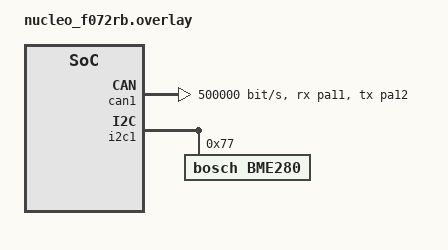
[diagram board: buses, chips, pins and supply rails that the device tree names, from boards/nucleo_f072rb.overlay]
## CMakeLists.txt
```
# SPDX-License-Identifier: Apache-2.0
#
# The F072RB peer node: a BME280 read over I2C, published as Protobuf over CAN.
# The H753ZI gateway relays those bytes to MQTT without decoding them.
#
# Two of the four translation units come from shared/, compiled here by relative
# path rather than copied. That is the same rule tests/ already follows: one
# definition, no drift. It matters most for protocol.cpp, which *is* the mapping
# between the schema and the internal reading struct -- two copies of an encoder
# is two schemas that agree only by luck.

cmake_minimum_required(VERSION 3.20.0)
find_package(Zephyr REQUIRED HINTS $ENV{ZEPHYR_BASE})
project(sensor_node)

set(SHARED ${CMAKE_CURRENT_SOURCE_DIR}/../shared)

# The same generator line the gateway and tests/ use, so all three build against
# proto/ rather than a snapshot of it.
list(APPEND CMAKE_MODULE_PATH ${ZEPHYR_BASE}/modules/nanopb)
include(nanopb)
zephyr_nanopb_sources(app ${CMAKE_CURRENT_SOURCE_DIR}/../proto/node.proto)

target_sources(app PRIVATE
  src/main.cpp          # the CAN session: heartbeat, ISO-TP send/receive
  src/sensor.cpp        # BME280 thread: acquisition, sample period, bounds
  ${SHARED}/protocol.cpp  # shared: the wire format
  ${SHARED}/commands.cpp  # shared: command semantics, dispatch, dedupe
)

# app_channels.h, can_link.h, commands.h and protocol.h come from shared/. Note
# what this does NOT include: main.cpp and sensor.cpp are this node's own,
# because the session and the sensor are exactly what differs.
target_include_directories(app PRIVATE ${SHARED})
```

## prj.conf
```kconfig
# The F072RB peer node. 16 KB of RAM and 128 KB of flash, so every option here
# is one someone had to justify -- unlike the gateway, where the H7's 512 KB
# made the question uninteresting. Where a value differs from gateway/prj.conf,
# the comment says why.

# C++17, same as the gateway. See notes/language-cpp.md.
CONFIG_CPP=y
CONFIG_STD_CPP17=y

# --- Sensor -----------------------------------------------------------------
# BME280 on I2C1. CONFIG_BME280 is default-y once the devicetree node exists,
# so the driver needs no explicit enable -- the same devicetree->Kconfig bridge
# the SCD-40 uses on the gateway (docs/build-system-overview.md).
CONFIG_SENSOR=y
CONFIG_I2C=y

# --- CAN --------------------------------------------------------------------
# bxCAN, classic CAN 2.0B. No CONFIG_CAN_FD_MODE: this part cannot do CAN-FD at
# all, which is what fixes the link at 8 payload bytes and makes the next
# option necessary rather than a convenience.
CONFIG_CAN=y

# ISO-TP (ISO 15765-2): segmentation and reassembly on top of 8-byte frames,
# with flow control. A Telemetry is up to 43 bytes with its type prefix, so it
# does not fit a single frame and there is no way around this. notes/can-guide.md §8.
CONFIG_ISOTP=y

# Trim the ISO-TP receive pools. The defaults are 4 of each, sized for a node
# handling several concurrent transfers; this one only ever receives a Command,
# and 4x56 B twice over is real money on 16 KB.
CONFIG_ISOTP_RX_BUF_COUNT=2
CONFIG_ISOTP_RX_SF_FF_BUF_COUNT=2

# There is deliberately no CONFIG_ISOTP_TX_BUF_COUNT here: it depends on
# ISOTP_USE_TX_BUF, and setting it without that produces a Kconfig warning and
# no effect. We do not want the TX buffers at all. main.cpp calls isotp_send()
# with a null completion callback, which blocks until the whole segmented
# transfer has finished, so the caller's own buffer stays valid for the
# duration and there is nothing for the library to copy into. That is also what
# makes the single-writer rule enforceable without a mutex -- see src/main.cpp.
# CONFIG_ISOTP_USE_TX_BUF is not set
# CONFIG_ISOTP_ENABLE_CONTEXT_BUFFERS is not set

# --- Protobuf ---------------------------------------------------------------
# Same generated code as the gateway, from the same proto/node.proto.
CONFIG_NANOPB=y

# --- zbus -------------------------------------------------------------------
# Same split as the gateway: the sensor thread publishes readings and never
# mentions CAN. See shared/app_channels.h.
CONFIG_ZBUS=y
CONFIG_ZBUS_MSG_SUBSCRIBER=y
CONFIG_ZBUS_PREFER_DYNAMIC_ALLOCATION=n
# The largest message on ANY channel this node publishes -- struct
# sensor_reading, 44 B. Not the largest on a message-subscriber channel: with
# CONFIG_ZBUS_MSG_SUBSCRIBER=y every zbus_chan_pub() copies the whole message
# into a buffer from this pool regardless of the channel's observer kinds, so
# the listener-only telemetry channel still needs a slot big enough to hold a
# reading. The gateway's prj.conf has the mechanism; shared/app_channels.h has
# the static_assert that enforces it.
CONFIG_ZBUS_MSG_SUBSCRIBER_NET_BUF_STATIC_DATA_SIZE=44
CONFIG_ZBUS_MSG_SUBSCRIBER_NET_BUF_POOL_SIZE=2

# Channel and observer names cost ROM per object and only ever appear in zbus's
# own log lines. The gateway keeps them; this node does not.
# CONFIG_ZBUS_CHANNEL_NAME is not set
# CONFIG_ZBUS_OBSERVER_NAME is not set

# --- Console and logging ----------------------------------------------------
# usart2 on the ST-LINK VCP at 115200, from the board dts. Deliberately NO
# shell: CONFIG_SHELL, CONFIG_SENSOR_SHELL and CONFIG_CAN_SHELL are all off.
# can_shell.c alone was 4356 B of the gateway's flash, and a shell wants a
# thread and a stack this part would rather spend elsewhere. Debug this node
# from the gateway's console and the bus, which is also how it will have to be
# debugged once it is not on a desk.
CONFIG_STDOUT_CONSOLE=y
CONFIG_LOG=y
# Deferred logging, and NOT CONFIG_LOG_MODE_MINIMAL, which is what this file
# tried first. Minimal mode routes every message straight to vprintk() in the
# caller's context (subsys/logging/log_minimal.c:19) with nothing owning the
# output, so two threads logging at once interleave *within a line*. Observed on
# this board, at the worst possible moment -- boot, when both threads have
# something to say:
#
#   I: BME280 W: gateway unreachable (heartbeat failed: -5) — backing off
#   online
#
# That is two correct messages and one unreadable console. CONFIG_PRINTK_SYNC=y
# would fix it with a spinlock, but a spinlock on a single-core part is an
# irq_lock held for the whole line, and a 60-character line over a polling UART
# at 115200 is about 5 ms of interrupts disabled -- twenty CAN frame times, on a
# controller with a three-deep RX FIFO.
#
# So: a log thread and a ring buffer instead. It costs +1640 B RAM and +8748 B
# flash, taking this app to 65 % and 51 % of the part, and it buys ordered
# output, timestamps and module names. Worth it here specifically because this
# node has NO SHELL: the console is its only diagnostic channel, so making that
# channel trustworthy is not a luxury. Both numbers below are trimmed from their
# 1024 B defaults; raise them if messages start being dropped.
CONFIG_LOG_MODE_DEFERRED=y
CONFIG_LOG_BUFFER_SIZE=512
CONFIG_LOG_PROCESS_THREAD_STACK_SIZE=768

CONFIG_MAIN_STACK_SIZE=1536

# Deliberately absent: CONFIG_SYSTEM_WORKQUEUE_STACK_SIZE, left at its 1024 B
# default. Worth knowing where it matters, though -- isotp.c drives every
# segmented transfer from k_work_submit(), which is the *shared* system
# workqueue, so the frame-by-frame half of an ISO-TP send runs on that stack
# rather than on main's. If the link ever misbehaves in ways that look like
# memory corruption, this is the first number to raise, and
# CONFIG_THREAD_ANALYZER is how to find out rather than guess.
```

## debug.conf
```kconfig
# An interactive shell on the peer node, for bench work only.
#
# Not part of prj.conf, because this is a build *variant* rather than a change
# of mind. Pass it explicitly:
#
#   ./scripts/build.sh -a peer-node --debug -p
#
# which expands to -DEXTRA_CONF_FILE=debug.conf. Kconfig merges the fragments in
# order, so everything below is layered on top of prj.conf rather than replacing
# it -- see notes/zephyr-build-system-guide.md for how that merge works.
#
# ---------------------------------------------------------------------------
# Why this is not simply on
# ---------------------------------------------------------------------------
#
# Measured on this app, all four pristine builds, RAM out of 16 KB:
#
#   no shell (prj.conf alone)          10 696 B   65 %     67 384 B flash
#   shell core, stock settings         15 632 B   95 %     97 008 B
#   + can shell, stock settings        16 092 B   98 %    106 268 B
#   + sensor shell, stock settings     OVERFLOW by 5856 B
#   this file (trimmed, + can shell)   13 532 B   83 %     98 680 B
#
# A stock Zephyr shell essentially consumes the part: 95 % of RAM before a
# single command set is added. The trimming below is what makes it usable, and
# every line of it costs a convenience you would otherwise have.
#
# CONFIG_SENSOR_SHELL is absent and cannot be added. It selects SENSOR_ASYNC_API,
# which pulls in RTIO and its pools, and the link overflows by 5856 B. Read the
# BME280 through the telemetry stream instead -- which is the honest test
# anyway, since that is the path that has to work.

CONFIG_SHELL=y

# The `can` command set: show, start/stop, mode, bitrate, send, filter add,
# dump. This is the reason to build this variant at all. Having it on BOTH ends
# of the link is what makes a first real-bus bring-up tractable: `can show` on
# each node reports its own error counters and state, so "which end is unhappy"
# stops being a guess. 9272 B of flash and 460 B of RAM.
CONFIG_CAN_SHELL=y

# --- the trimming -----------------------------------------------------------
# Roughly 2.5 KB of RAM, itemised so each cost is visible rather than folded
# into one number.

# 1024 rather than 2048. The deepest thing the shell does here is can_shell.c's
# frame printing; it does no networking and no file I/O.
CONFIG_SHELL_STACK_SIZE=1024

# 96-byte command line rather than 256. The longest command worth typing is
# about `can filter add can@40006400 0x702 0x7ff`, which is 42 characters.
CONFIG_SHELL_CMD_BUFF_SIZE=96

# No history: 512 B of RAM for the up-arrow. The single most missed one, and
# the single largest saving.
CONFIG_SHELL_HISTORY=n

# No tab completion, no VT100 line editing, no colours, no metakeys, no
# statistics. Each keeps its own buffers or tables. What remains is a plain
# line-at-a-time terminal -- type it correctly, press enter.
CONFIG_SHELL_TAB=n
CONFIG_SHELL_TAB_AUTOCOMPLETION=n
CONFIG_SHELL_VT100_COMMANDS=n
CONFIG_SHELL_VT100_COLORS=n
CONFIG_SHELL_METAKEYS=n
CONFIG_SHELL_STATS=n

# Log lines keep going straight to the UART backend rather than being routed
# through the shell, which would want its own message queue on top of the
# deferred-logging one prj.conf already pays for. The visible effect is that a
# log line can land in the middle of what you are typing. With no history and no
# VT100 there is no redraw to fix that; it is the same trade as the rest.
CONFIG_SHELL_LOG_BACKEND=n

# Small ring buffers. 16 bytes of RX is four characters of typing ahead of the
# shell thread, which a human cannot outrun.
CONFIG_SHELL_BACKEND_SERIAL_RX_RING_BUFFER_SIZE=16
CONFIG_SHELL_BACKEND_SERIAL_TX_RING_BUFFER_SIZE=16
```

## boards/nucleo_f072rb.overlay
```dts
/* Devicetree for the F072RB peer node: one CAN controller, one BME280.
 *
 * Both nodes need adding here, unlike the H753ZI where the board dts already
 * enabled fdcan1 -- `can` is not in nucleo_f072rb.yaml's supported list and
 * can1 arrives from stm32f072.dtsi with status = "disabled". So this file does
 * for CAN what gateway/boards/nucleo_h753zi.overlay does only for the sensor.
 */

/* Classic CAN 2.0B on bxCAN. Not FDCAN: this part has no CAN-FD at all, which
 * is what fixes the whole link at 8 payload bytes per frame and makes ISO-TP
 * segmentation necessary rather than optional. See notes/can-guide.md §8.
 *
 * PA11 (RX) / PA12 (TX), exposed on ST morpho CN10-14 and CN10-12. The
 * can_rx_pb8 / can_tx_pb9 remap exists but collides with i2c1 below, where the
 * BME280 lives -- so the choice of pins here is really a choice about the
 * sensor bus. Note the labels are `can_*`, not `can1_*`, unlike the H7's
 * `fdcan1_*`; the pinctrl name follows the peripheral's name in the SoC dtsi.
 *
 * PA11/PA12 are also USB_DM/USB_DP on this part. That is not a conflict to
 * resolve, it is a conflict that cannot arise: on STM32F0 the USB and CAN
 * peripherals share the same 1 KB packet-buffer SRAM (RM0091), so they are
 * mutually exclusive in hardware. This node uses no USB.
 */
&can1 {
	pinctrl-0 = <&can_rx_pa11 &can_tx_pa12>;
	pinctrl-names = "default";

	/* The same number the H7's overlay states, for the same reason: a
	 * bitrate is a property of the wire both nodes share, not of either
	 * app. Leaving it out would silently select CONFIG_CAN_DEFAULT_BITRATE
	 * (125000) and produce a completely dead bus with every layer above it
	 * apparently configured correctly. See docs/can-bringup.md. */
	bitrate = <500000>;

	status = "okay";
};

/ {
	chosen {
		/* So relay-side code can say DEVICE_DT_GET(DT_CHOSEN(zephyr_canbus))
		 * and compile unchanged against fdcan1 on the H7, can1 here, and a
		 * loopback node in a test. The H753ZI board dts already sets this;
		 * on this board nobody has. */
		zephyr,canbus = &can1;
	};
};

/* Adafruit BME280 on I2C1 (SCL=PB8, SDA=PB9 -- already pinned by the board
 * dts). Upstream in-tree driver, same posture as the SCD-40 on the gateway:
 * the devicetree node is what enables CONFIG_BME280, which is `default y` on
 * DT_HAS_BOSCH_BME280_ENABLED.
 *
 * Address 0x77 is the Adafruit breakout's default (SDO pulled high on the
 * board). Sparkfun and most bare modules use 0x76 instead; if probing finds
 * nothing, that is the first thing to change. The driver reads the chip id
 * either way, so a wrong address fails cleanly at init rather than returning
 * plausible garbage.
 *
 * No zephyr,deferred-init here, deliberately. That flag exists on the SCD-40
 * because it needs 30 ms of power-up before it will answer at all and a failed
 * init latches permanently (see docs/sensor-bringup.md). The BME280 has no
 * such window -- it is readable as soon as its supply is up -- so there is
 * nothing for a delayed init to buy, and the boot sweep can have it.
 */
&i2c1 {
	bme280: bme280@77 {
		compatible = "bosch,bme280";
		reg = <0x77>;
		status = "okay";
	};
};
```

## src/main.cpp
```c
/* The CAN session: this node's whole conversation with the gateway.
 *
 * The counterpart of gateway/src/main.cpp, which owns the MQTT session on the
 * gateway. Reading them side by side is the point of the exercise: the same job
 * over transports that agree on almost nothing, and every mechanism MQTT gives
 * away for free has to be re-earned here. notes/can-guide.md §9 sets the two
 * out row by row.
 *
 * The rows that put code in this file and not in the gateway's are liveness and
 * acknowledgement: a CAN bus cannot tell a silent node from an absent one, so
 * liveness is a heartbeat this node publishes rather than something a broker
 * infers.
 *
 * Everything below runs on main. That is a correctness property before it is
 * thrift: two isotp_send() calls on one address from different contexts
 * interleave their frames and corrupt both transfers, so the single-writer rule
 * is load-bearing. It also fits a part with 16 KB of RAM.
 *
 * The loop's shape follows: wake at least once per kHeartbeatPeriodMs, and spend
 * the time between blocked in isotp_recv(). Telemetry arrives asynchronously on
 * a zbus channel and goes out on whichever wake comes next, so a reading can
 * wait up to one heartbeat period -- acceptable against a 5 s sample cadence.
 */
#include <zephyr/kernel.h>
#include <zephyr/canbus/isotp.h>
#include <zephyr/device.h>
#include <zephyr/drivers/can.h>
#include <zephyr/logging/log.h>
#include <zephyr/sys/atomic.h>
#include <zephyr/zbus/zbus.h>

#include <errno.h>
#include <string.h>

#include "app_channels.h"
#include "can_link.h"
#include "commands.h"
#include "protocol.h"

LOG_MODULE_REGISTER(node, LOG_LEVEL_INF);

/* This app's half of the identity seam commands.h declares. The gateway defines
 * "nucleo-1"; this is node 2, and the two must differ -- GetDeviceInfo is how a
 * host asks which node it is actually talking to, and a relayed answer with the
 * wrong id would be worse than no answer. */
const char *const kNodeClientId = "nucleo-2";

namespace {

constexpr uint8_t kNodeId = kFirstPeerNodeId; /* 2 */

/* One line, and it is the reason this file compiles unchanged against fdcan1 on
 * the H7, can1 here, and a software loopback node in a test: the devicetree
 * says which controller is *the* CAN bus, so no node label appears in the C. */
const struct device *const can_dev = DEVICE_DT_GET(DT_CHOSEN(zephyr_canbus));

/* ---- ISO-TP addressing ---------------------------------------------------- */

/* Mirrored from the gateway's point of view: what it calls "to peer" is what we
 * receive. Getting this pair backwards produces a link on which every frame is
 * transmitted correctly and nothing is ever delivered, which is why the
 * constructors in can_link.h are named for direction rather than for role.
 *
 * Four addresses rather than two, because our bind and our sender each need an
 * identifier no other filter on this node listens to (can_link.h). The pairing
 * to hold on to: an ISO-TP context's two addresses are always "the data I move"
 * and "the flow control that answers it", travelling in opposite directions. */
const struct isotp_msg_id rx_addr = {
	.std_id = isotp_id_to_peer(kNodeId), /* 0x7E0: commands, gateway -> us */
};
const struct isotp_msg_id rx_fc_addr = {
	.std_id = isotp_fc_id_to_peer(kNodeId), /* 0x7EC: FC for our sends, gateway -> us */
};
const struct isotp_msg_id tx_addr = {
	.std_id = isotp_id_to_gateway(kNodeId), /* 0x7E8: telemetry and acks, us -> gateway */
};
const struct isotp_msg_id tx_fc_addr = {
	.std_id = isotp_fc_id_to_gateway(kNodeId), /* 0x7E4: FC for our bind, us -> gateway */
};

/* Flow control we advertise to a sender: bs = 0 is "send the whole thing", stmin
 * = 0 is "no minimum gap". Both are the permissive end, and right here because
 * the only thing that ever sends to this node is a Command -- 20 bytes worst
 * case, three frames. A node receiving a firmware image would answer
 * differently (notes/can-guide.md §8). */
const struct isotp_fc_opts fc_opts = {
	.bs = 0,
	.stmin = 0,
};

struct isotp_recv_ctx recv_ctx;
struct isotp_send_ctx send_ctx;

/* ---- telemetry from the sensor thread ------------------------------------- */

/* Set by the listener below, cleared once the reading has been sent. A plain
 * bool rather than an atomic: the listener runs in the context of whoever
 * published (the sensor thread), and a single-byte flag written by one thread
 * and read by another is exactly the case k_sem exists for -- which is what the
 * semaphore beside it is doing. The flag only says "there is something to
 * read"; the reading itself lives in the channel, where latest-wins keeps it
 * fresh, and is copied out under zbus's own lock by zbus_chan_read(). */
K_SEM_DEFINE(telemetry_pending, 0, 1);

void on_telemetry(const struct zbus_channel *chan)
{
	ARG_UNUSED(chan);

	/* A listener runs inside zbus_chan_pub(), in the publisher's context and
	 * with the channel locked. So it must not block and must not read the
	 * channel -- it signals, and the loop below does the reading. The
	 * gateway's listener signals an eventfd for the same reason; the only
	 * difference is that its reader is in poll() and ours is not. */
	k_sem_give(&telemetry_pending);
}

/* ---- link state ----------------------------------------------------------- */

/* A peer node whose gateway is absent is a **normal operating condition**, not
 * an error state: it happens whenever the gateway reboots, whenever the bus is
 * unplugged, and for as long as this node is powered before its gateway is.
 *
 * Treating it as an error costs twice -- a failure line per heartbeat burying
 * everything else, and a full second inside every isotp_send() waiting for flow
 * control nobody will send. So: back off, stay quiet, keep sampling, the same
 * rule gateway/src/main.cpp applies to a broker that will not accept a
 * connection. The sensor thread never learns about any of it.
 */
constexpr uint32_t kTxBackoffMinMs = 2000;
constexpr uint32_t kTxBackoffMaxMs = 30000;

bool link_up = true; /* optimistic: the first failure is the news, not the first success */
uint32_t tx_backoff_ms = 0;
int64_t tx_retry_at = 0;

/* Note an outcome, and log only when it *changes*. Without this the interesting
 * event — "the gateway went away" — is buried in identical lines repeating at
 * 1 Hz forever, which is the opposite of what a log is for. */
void note_link(bool ok, const char *what, int rc)
{
	if (ok) {
		if (!link_up) {
			LOG_INF("gateway reachable again");
		}
		link_up = true;
		tx_backoff_ms = 0;
		return;
	}

	if (link_up) {
		LOG_WRN("gateway unreachable (%s failed: %d) — backing off, still sampling", what,
			rc);
	}
	link_up = false;

	/* Doubling, capped. Same shape as the MQTT reconnect backoff on the
	 * gateway, and for the same reason: retry often enough to notice the
	 * peer return, rarely enough that failing costs nothing. */
	tx_backoff_ms = (tx_backoff_ms == 0) ? kTxBackoffMinMs
					     : MIN(tx_backoff_ms * 2, kTxBackoffMaxMs);
	tx_retry_at = k_uptime_get() + tx_backoff_ms;
}

/* Is the controller in a state where transmitting can possibly work?
 *
 * Bus-off is the one that matters here, and it is what this node hits with no
 * peer attached: every frame it sends goes unacknowledged, the transmit error
 * counter climbs past 255, and the controller takes itself off the bus
 * (notes/can-guide.md §6). can_send() then returns -ENETUNREACH immediately,
 * which is cheap — but asking first is what lets the heartbeat stay silent
 * about a condition it can neither fix nor influence.
 *
 * Recovery is automatic (CONFIG_CAN_MANUAL_RECOVERY_MODE is off) and does not
 * depend on us trying: the controller returns to error-active after it observes
 * 128 sequences of 11 recessive bits. So skipping a send while bus-off delays
 * nothing. */
bool bus_transmittable(void)
{
	enum can_state state;

	if (can_get_state(can_dev, &state, nullptr) != 0) {
		return true; /* cannot tell — try, and let the send report */
	}
	return state != CAN_STATE_BUS_OFF && state != CAN_STATE_STOPPED;
}

/* ---- sending -------------------------------------------------------------- */

/* Send one already-encoded protobuf message with its type byte in front.
 *
 * The type byte is prepended into a local buffer rather than sent as a separate
 * frame, because ISO-TP delivers a payload whole or not at all and splitting
 * the two would reintroduce exactly the reassembly problem it exists to solve.
 *
 * isotp_send() with a null completion callback BLOCKS until the whole segmented
 * transfer has finished. That is what makes the single-writer rule enforceable
 * without a mutex: this function cannot be re-entered from this thread, and no
 * other thread calls it. It also means the caller's buffer stays valid for the
 * duration, which the API requires. */
int send_message(enum relay_msg_type type, const uint8_t *payload, size_t len)
{
	/* +1 for the type byte. Sized from the largest thing we ever send. */
	uint8_t frame[1 + node_Ack_size];

	if (len + 1 > sizeof(frame)) {
		LOG_ERR("payload %zu B exceeds the ISO-TP buffer", len);
		return -EMSGSIZE;
	}

	frame[0] = static_cast<uint8_t>(type);
	memcpy(&frame[1], payload, len);

	int rc = isotp_send(&send_ctx, can_dev, frame, len + 1, &tx_addr, &rx_fc_addr, nullptr,
			    nullptr);

	/* ISOTP_N_TIMEOUT_BS (-2) is the signature of an absent gateway: the
	 * first frame went out and no flow control came back within a second.
	 * That is not an error to report per attempt — it is a link state, and
	 * note_link() owns saying so once. Anything else is a genuine surprise
	 * and is worth a line of its own. */
	if (rc != ISOTP_N_OK && rc != ISOTP_N_TIMEOUT_BS && rc != ISOTP_N_TIMEOUT_A) {
		LOG_WRN("isotp_send(type=%u, %zu B) failed: %d", type, len + 1, rc);
	}
	return rc;
}

/* Returns the ISO-TP result, not a bool: ISOTP_N_OK, or the code that explains
 * the failure. note_link() prints it, and the distinction it carries is the
 * whole diagnosis -- ISOTP_N_TIMEOUT_BS means the first frame went out and no
 * flow control came back, which is a very different fault from the transmit
 * itself failing, and the two point at different halves of the link. A bool
 * cannot carry that distinction. */
int send_telemetry(const struct sensor_reading &reading)
{
	uint8_t payload[node_Telemetry_size];
	size_t len = encode_telemetry(reading, payload, sizeof(payload));

	if (len == 0) {
		return -EINVAL; /* encode_telemetry already logged why */
	}

	return send_message(RELAY_MSG_TELEMETRY, payload, len);
}

/* ---- the heartbeat -------------------------------------------------------- */

/* What the last reading said, so the heartbeat can report the node's state
 * without re-reading the sensor. Written and read only by main. */
struct heartbeat hb_state = {
	.state = HEARTBEAT_STATE_BOOT,
	.uptime_s = 0,
	.sequence_low = 0,
};

/* Transmission bookkeeping for the heartbeat, written from the CAN TX ISR.
 *
 * The heartbeat MUST be sent with a completion callback. can_send() without one
 * waits K_FOREVER on completion, the k_timeout_t argument bounds only the wait
 * for a free mailbox, and on this controller completion may never come at all --
 * so a blocking heartbeat parks main for the whole outage, taking telemetry and
 * command handling with it, and does so invisibly. docs/can-bringup.md *Driver
 * behaviour worth knowing* has the mechanism.
 *
 * With a callback, can_send() returns as soon as the frame is queued and the
 * link verdict is formed from what has actually COMPLETED rather than from what
 * was accepted for transmission. */
atomic_t beats_in_flight = ATOMIC_INIT(0);
atomic_t last_beat_error = ATOMIC_INIT(0);

void heartbeat_sent(const struct device *dev, int error, void *user_data)
{
	ARG_UNUSED(dev);
	ARG_UNUSED(user_data);

	atomic_set(&last_beat_error, error);
	atomic_dec(&beats_in_flight);
}

void send_heartbeat(void)
{
	struct can_frame frame = {};

	frame.id = heartbeat_id(kNodeId);
	frame.dlc = kHeartbeatLen;

	hb_state.uptime_s = static_cast<uint32_t>(k_uptime_get() / 1000);
	heartbeat_pack(&hb_state, frame.data);

	/* K_NO_WAIT plus a real callback, which together are what make this
	 * genuinely non-blocking -- see the note on beats_in_flight above for
	 * why the callback is the load-bearing half. A heartbeat that had to
	 * queue behind something is already late, and the next one is a second
	 * away; blocking main here would delay the command handling this loop
	 * also owes, for as long as the link stayed down.
	 *
	 * The heartbeat is NOT backed off when the link is down, unlike
	 * telemetry: it is one non-blocking frame, it is what a returning
	 * gateway is waiting to hear, and going quiet would make recovery
	 * depend on the telemetry cadence. Only its logging is suppressed. */
	int rc = can_send(can_dev, &frame, K_NO_WAIT, heartbeat_sent, nullptr);

	if (rc == 0) {
		atomic_inc(&beats_in_flight);
	}

	/* Three things have to hold for the link to count as up:
	 *
	 *   rc == 0            the frame was accepted. -EAGAIN means all three
	 *                      mailboxes are still occupied by earlier beats.
	 *   in flight <= 1     the PREVIOUS beat completed. At 1 Hz, one still
	 *                      outstanding means nothing is acknowledging us --
	 *                      which notices the fault at t+2s rather than t+4s.
	 *   no error           the last completed beat reported success.
	 *
	 * Reading a result that belongs to the previous beat is deliberate: a
	 * transmission that has not finished has no verdict yet. */
	int err = (rc != 0) ? rc : static_cast<int>(atomic_get(&last_beat_error));

	if (err == 0 && atomic_get(&beats_in_flight) > 1) {
		/* A distinct code rather than a bare false, so the console names
		 * which of the three conditions failed. note_link() prints the
		 * number it is given, so handing it a 0 here would report
		 * "failed: 0" and say nothing at all. */
		err = -EBUSY;
	}

	note_link(err == 0, "heartbeat", err);
}

/* ---- receiving ------------------------------------------------------------ */

void handle_incoming(const uint8_t *buf, size_t len)
{
	if (len < 1) {
		LOG_WRN("empty ISO-TP payload");
		return;
	}

	if (buf[0] != RELAY_MSG_COMMAND) {
		/* The gateway only ever sends commands downward. Anything else
		 * is a bug at the far end or a newer peer's traffic on our
		 * address, and either way this node has no handler. */
		LOG_WRN("unexpected message type %u from the gateway", buf[0]);
		return;
	}

	node_Command cmd;

	/* `oversized` is false: ISO-TP already refused anything longer than the
	 * buffer, so a payload that arrives here arrived whole. That is one of
	 * the two things the gateway's MQTT path has to check for itself. */
	if (!decode_command(&buf[1], len - 1, false, &cmd)) {
		uint8_t payload[node_Ack_size];
		/* Sequence 0: the bytes did not decode, so there is no sequence
		 * to echo. The host correlates on it and will see a 0 it never
		 * sent, which is the honest report of "something arrived and it
		 * was not a Command". */
		size_t n = encode_ack(0, node_AckStatus_ACK_STATUS_MALFORMED, "decode failed",
				      nullptr, payload, sizeof(payload));

		if (n > 0) {
			send_message(RELAY_MSG_ACK, payload, n);
		}
		return;
	}

	struct command_result result;

	/* The shared commands.cpp -- the same object code the gateway runs,
	 * including its duplicate suppression. Worth noticing that the dedupe is
	 * still useful here even though CAN has no QoS 1 redelivery: the gateway
	 * can retry a command whose ack it never saw, and this node must not act
	 * on it twice. The reason changed; the requirement did not. */
	handle_command(cmd, &result);

	uint8_t payload[node_Ack_size];
	size_t n = encode_ack(cmd.sequence, result.status, result.detail,
			      result.has_info ? &result.info : nullptr, payload, sizeof(payload));

	if (n > 0) {
		send_message(RELAY_MSG_ACK, payload, n);
	}
}

}  // namespace

/* At global scope: chan_telemetry in sensor.cpp names this observer, and
 * internal linkage would stop the two from meeting. */
ZBUS_LISTENER_DEFINE(telemetry_listener, on_telemetry);

int main(void)
{
	if (!device_is_ready(can_dev)) {
		LOG_ERR("CAN device not ready");
		return 0;
	}

	/* Controllers come up stopped. Nothing transmits or receives until this
	 * call, and the failure mode is the nasty kind: every log line looks
	 * healthy and no frame moves. See docs/can-bringup.md. */
	int rc = can_start(can_dev);

	if (rc != 0 && rc != -EALREADY) {
		LOG_ERR("can_start failed: %d", rc);
		return 0;
	}

	/* Binding installs a hardware acceptance filter for rx_addr and gives us
	 * a receive context to read reassembled payloads from. Until this
	 * returns, commands from the gateway are dropped by the controller
	 * itself rather than by us. */
	rc = isotp_bind(&recv_ctx, can_dev, &rx_addr, &tx_fc_addr, &fc_opts, K_MSEC(200));

	if (rc != ISOTP_N_OK) {
		LOG_ERR("isotp_bind failed: %d", rc);
		return 0;
	}

	/* All four identifiers, read back out of can_link.h rather than written
	 * as literals: seeing them here and mirrored on the gateway's console is
	 * the cheapest confirmation that both ends computed the same map. */
	LOG_INF("node %u on CAN: heartbeat 0x%03x, isotp in 0x%03x (fc out 0x%03x), "
		"out 0x%03x (fc in 0x%03x)",
		kNodeId, heartbeat_id(kNodeId), rx_addr.std_id, tx_fc_addr.std_id,
		tx_addr.std_id, rx_fc_addr.std_id);

	int64_t next_beat = k_uptime_get();

	while (true) {
		int64_t until_beat = next_beat - k_uptime_get();

		if (until_beat <= 0) {
			/* Skipped while bus-off, because it cannot succeed and
			 * trying does nothing to hasten recovery. */
			if (bus_transmittable()) {
				send_heartbeat();
			} else {
				note_link(false, "bus", -ENETUNREACH);
			}
			/* Re-based on the schedule, not on now: a slow iteration
			 * shifts one beat rather than permanently drifting the
			 * cadence the gateway is timing us against. */
			next_beat += kHeartbeatPeriodMs;
			continue;
		}

		/* One blocking call, ended by either of the two things that can
		 * happen: a command arrives, or the beat comes due. Same shape
		 * as the sensor thread's wait, and as the gateway's poll(). */
		uint8_t buf[1 + node_Command_size];
		int len = isotp_recv(&recv_ctx, buf, sizeof(buf), K_MSEC(until_beat));

		if (len > 0) {
			handle_incoming(buf, static_cast<size_t>(len));
		} else if (len != ISOTP_RECV_TIMEOUT) {
			LOG_WRN("isotp_recv failed: %d", len);
		}

		/* Whatever ended the wait, send a reading if one is waiting.
		 * k_sem_take with K_NO_WAIT is a non-blocking "was anything
		 * published?", and the count saturates at 1, so several readings
		 * taken during a long transfer collapse to one -- which is what
		 * the channel did to them anyway. Latest wins on both. */
		if (k_sem_take(&telemetry_pending, K_NO_WAIT) == 0) {
			struct sensor_reading reading;

			if (zbus_chan_read(&chan_telemetry, &reading, K_MSEC(50)) == 0) {
				/* The heartbeat reports what the last reading
				 * said, so the gateway can distinguish "peer
				 * alive, sensor broken" from "peer gone" without
				 * decoding a single protobuf byte. This happens
				 * whether or not the reading can be transmitted:
				 * the state is true regardless of who is
				 * listening. */
				enum heartbeat_state was = hb_state.state;

				hb_state.state = (reading.status == SENSOR_READING_ERROR)
							 ? HEARTBEAT_STATE_SENSOR_ERROR
							 : HEARTBEAT_STATE_OK;
				hb_state.sequence_low =
					static_cast<uint8_t>(reading.sequence & 0xFF);

				/* On change only, same rule as the link state, and it
				 * matters here because sensor.cpp announces the sensor
				 * once at boot and never again -- a console attached
				 * later would otherwise have no way to know whether the
				 * readings are real. An ERROR reading is nearly
				 * invisible on the wire too, encoding to about ten bytes
				 * rather than twenty-five. */
				if (hb_state.state != was) {
					if (hb_state.state == HEARTBEAT_STATE_SENSOR_ERROR) {
						LOG_ERR("sensor reads are failing — telemetry "
							"carries no measurements");
					} else {
						LOG_INF("sensor readings OK (seq %u)",
							reading.sequence);
					}
				}

				/* The expensive one, and so the one that gets
				 * backed off: a failed isotp_send() costs a full
				 * ISOTP_BS_TIMEOUT of this thread, which is a
				 * second of not answering commands and not
				 * beating on time. Attempting that every sample
				 * against an absent gateway is how the loop
				 * loses its clock. */
				if (bus_transmittable() &&
				    (link_up || k_uptime_get() >= tx_retry_at)) {
					int rc = send_telemetry(reading);

					note_link(rc == ISOTP_N_OK, "telemetry", rc);
				}
			}
		}
	}

	return 0;
}
```

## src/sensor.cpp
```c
/* Sensor thread: reads the Adafruit BME280 on its own cadence and publishes each
 * reading to the chan_telemetry zbus channel.
 *
 * The gateway's gateway/src/sensor.cpp is the same file for a different sensor,
 * and the two are deliberately NOT shared: what they have in common -- the
 * channels, the period bounds, the reading struct -- is already in
 * app_channels.h, and acquisition is exactly the part that is per-sensor.
 *
 * The SCD-40 gives CO2, temperature and humidity; the BME280 temperature,
 * humidity and pressure. Neither is a subset of the other, and neither has to
 * lie about the gap -- struct sensor_reading carries a presence flag per
 * measurement (notes/protobuf-guide.md §5).
 */
#include <zephyr/kernel.h>
#include <zephyr/device.h>
#include <zephyr/drivers/sensor.h>
#include <zephyr/logging/log.h>
#include <zephyr/zbus/zbus.h>

#include "app_channels.h"

LOG_MODULE_REGISTER(node_sensor, LOG_LEVEL_INF);

/* Defined at the bottom of the file, next to the channels; declared here so the
 * thread below can wait on it. */
ZBUS_OBS_DECLARE(sensor_cmd_sub);

namespace {

/* Smaller than the gateway's 2048: this thread's deepest frame is three
 * struct sensor_value plus a struct sensor_reading, and there is 16 KB of RAM
 * on this part in total. Raise it, do not guess, if a stack canary ever fires
 * (CONFIG_THREAD_ANALYZER is the tool). */
constexpr size_t kSensorStackSize = 1024;
/* Lower priority (higher number) than main, which owns the CAN link and has a
 * heartbeat deadline to meet. Same argument as the gateway, where main owns the
 * MQTT keepalive. */
constexpr int kSensorPriority = 7;

const struct device *const bme280 = DEVICE_DT_GET(DT_NODELABEL(bme280));

/* Fill `out` from the sensor. A failed read is reported, not hidden: the
 * gateway cannot tell a broken sensor from a dead node if this node simply goes
 * quiet, and the heartbeat would keep insisting it is fine. */
void read_bme280(bool device_ok, struct sensor_reading *out)
{
	if (!device_ok) {
		out->status = SENSOR_READING_ERROR;
		return;
	}

	int rc = sensor_sample_fetch(bme280);

	if (rc != 0) {
		LOG_ERR("sample_fetch failed: %d", rc);
		out->status = SENSOR_READING_ERROR;
		return;
	}

	struct sensor_value temp, hum, press;

	sensor_channel_get(bme280, SENSOR_CHAN_AMBIENT_TEMP, &temp);
	sensor_channel_get(bme280, SENSOR_CHAN_HUMIDITY, &hum);
	sensor_channel_get(bme280, SENSOR_CHAN_PRESS, &press);

	out->temperature_c = static_cast<float>(sensor_value_to_double(&temp));
	out->has_temperature_c = true;
	out->humidity_rh = static_cast<float>(sensor_value_to_double(&hum));
	out->has_humidity_rh = true;

	/* Converted by hand rather than through sensor_value_to_double(), because
	 * the M0 has no FPU and every float operation is a soft-float library call;
	 * this is exact integer arithmetic instead. SENSOR_CHAN_PRESS is
	 * kilopascals with val2 the micro-kPa fraction, so a whole pascal is
	 * val1 * 1000 and val2 / 1000 is the rest, with no rounding. That
	 * exactness is also the argument for `uint32 pressure_pa` in the schema:
	 * atmospheric pressure is ~30 000-110 000 Pa, which cannot overflow one. */
	out->pressure_pa = static_cast<uint32_t>(press.val1) * 1000U +
			   static_cast<uint32_t>(press.val2) / 1000U;
	out->has_pressure_pa = true;

	/* Never set: this node has no CO2 sensor, and has_co2_ppm stays false so
	 * the gateway's host sees an absence rather than a confident 0 ppm.
	 *
	 * Note also what is missing compared to the SCD-40: no warming-up state.
	 * The BME280 in normal mode has a conversion ready within milliseconds
	 * of init, so there is no window in which it answers with a placeholder,
	 * and SENSOR_READING_WARMING_UP is a status this node never publishes. */
	out->status = SENSOR_READING_OK;
}

void sensor_thread(void *, void *, void *)
{
	/* No deferred init and no power-up wait, unlike the gateway's SCD-40:
	 * this device came up in the boot sweep, so by the time this thread runs
	 * the answer is already known. */
	const bool device_ok = device_is_ready(bme280);

	if (!device_ok) {
		LOG_ERR("BME280 not ready — publishing ERROR readings");
	} else {
		LOG_INF("BME280 online");
	}

	uint32_t sequence = 0;
	uint32_t period_ms = SAMPLE_PERIOD_DEFAULT_MS;

	while (true) {
		struct sensor_reading reading = {};

		reading.sequence = sequence++;
		reading.uptime_ms = static_cast<uint32_t>(k_uptime_get());
		read_bme280(device_ok, &reading);

		int rc = zbus_chan_pub(&chan_telemetry, &reading, K_MSEC(50));

		if (rc != 0) {
			LOG_WRN("chan_telemetry publish failed: %d", rc);
		}

		/* Wait out the sample period, but wake early for a command --
		 * the same loop as the gateway's sensor thread, and for the same
		 * reason: one blocking call in which both the clock and the bus
		 * can end the wait. The commands arrive over CAN here instead of
		 * MQTT, but nothing below this line knows that, which is the
		 * point of the channel sitting between them. */
		const int64_t last_sample = k_uptime_get();

		while (true) {
			int64_t left = (last_sample + period_ms) - k_uptime_get();

			if (left <= 0) {
				break;
			}

			const struct zbus_channel *chan;
			struct sensor_cmd cmd;

			if (zbus_sub_wait_msg(&sensor_cmd_sub, &chan, &cmd, K_MSEC(left)) != 0) {
				break; /* timed out: the period elapsed */
			}

			if (chan != &chan_sensor_cmd) {
				continue;
			}

			bool sample_now = false;

			switch (cmd.kind) {
			case SENSOR_CMD_TRIGGER:
				LOG_INF("out-of-cadence measurement requested");
				sample_now = true;
				break;
			case SENSOR_CMD_SET_INTERVAL:
				/* In range by construction: the channel
				 * validator rejected anything else before it
				 * was stored. */
				period_ms = cmd.interval_ms;
				LOG_INF("sample period set to %u ms", period_ms);
				break;
			}

			if (sample_now) {
				break;
			}
		}
	}
}

/* The zbus adapter around the shared rule in app_channels.h. The gateway's
 * sensor.cpp has these same two lines; what must not be duplicated is the
 * *rule*, and that lives in one place for both nodes. */
bool sensor_cmd_valid_impl(const void *msg, size_t msg_size)
{
	ARG_UNUSED(msg_size);
	return sensor_cmd_in_range(static_cast<const struct sensor_cmd *>(msg));
}

}  // namespace

/* Definitions at global scope: ZBUS_CHAN_DECLARE in app_channels.h declares
 * these same symbols, and an anonymous namespace would give them a different
 * linkage than the declaration. notes/language-cpp.md §6. */

ZBUS_MSG_SUBSCRIBER_DEFINE(sensor_cmd_sub);

/* Sensor -> CAN. A LISTENER, exactly as on the gateway, and for the same reason:
 * telemetry is state, so latest wins and a sample dropped mid-transfer shows up
 * as a sequence gap.
 *
 * The *signal* differs, and instructively. The gateway's listener writes an
 * eventfd because its reader is parked in zsock_poll() and a bus notification
 * has to become a descriptor to be waited on beside a socket. Here the reader is
 * parked in isotp_recv(), which takes a k_timeout and no descriptor, so a
 * semaphore is the whole bridge. The transport below decides which.
 *
 * No validator: an ERROR reading is a fact to report, not a value to reject. */
ZBUS_CHAN_DEFINE(chan_telemetry, struct sensor_reading,
		 nullptr,
		 nullptr,
		 ZBUS_OBSERVERS(telemetry_listener), /* defined in main.cpp */
		 ZBUS_MSG_INIT(0));

/* CAN -> sensor. A MESSAGE SUBSCRIBER, so two commands arriving back to back are
 * both delivered rather than collapsed; a command has no next one coming. The
 * validator is what makes the period bounds unbypassable -- commands.cpp, which
 * both nodes share, never re-checks them. */
ZBUS_CHAN_DEFINE(chan_sensor_cmd, struct sensor_cmd,
		 sensor_cmd_valid_impl,
		 nullptr,
		 ZBUS_OBSERVERS(sensor_cmd_sub),
		 ZBUS_MSG_INIT(SENSOR_CMD_SET_INTERVAL, SAMPLE_PERIOD_DEFAULT_MS));

K_THREAD_DEFINE(sensor_tid, kSensorStackSize, sensor_thread, NULL, NULL, NULL,
		kSensorPriority, 0, 0);
```
